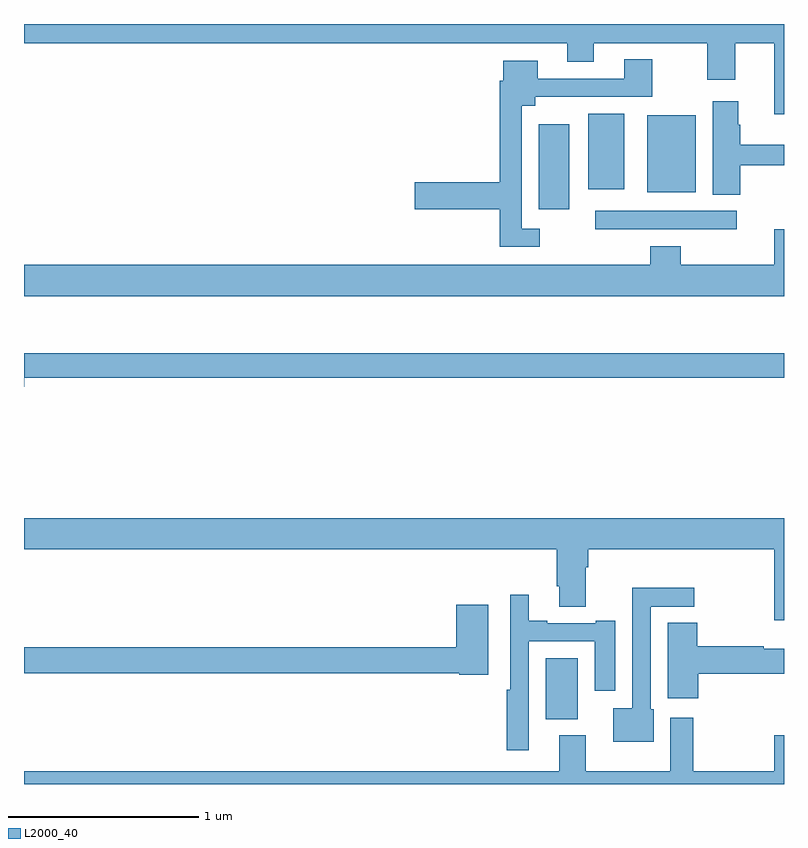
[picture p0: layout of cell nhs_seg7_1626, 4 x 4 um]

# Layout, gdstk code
import gdstk
lib = gdstk.Library(unit=1e-6, precision=1e-09)
def R(c, l, rs):  # rectangles x0, y0, x1, y1
    for r in rs: c.add(gdstk.rectangle(r[:2], r[2:], *l))
def P(c, l, *ps):  # polygons
    for p in ps: c.add(gdstk.Polygon(p, *l))
L2000_40 = (2000, 40)

nhs_seg7_1626 = lib.new_cell('nhs_seg7_1626')
R(nhs_seg7_1626, L2000_40, [(223.745,1046.342,223.915,1046.662), (224.007,1048.92,224.752,1049.016), (223.709,1049.025,223.87,1049.473), (224.279,1049.114,224.536,1049.521), (223.97,1049.129,224.158,1049.527)])
P(nhs_seg7_1626, L2000_40, [(225,1050),(221,1050),(221,1049.9),(223.859,1049.9),(223.859,1049.801),(223.999,1049.801),(223.999,1049.9),(224.596,1049.9),(224.596,1049.706),(224.743,1049.706),(224.743,1049.9),(224.948,1049.9),(224.948,1049.526),(225,1049.526)],
  [(223.714,1048.923),(223.62,1048.923),(223.62,1049.57),(223.69,1049.57),(223.69,1049.616),(224.307,1049.616),(224.307,1049.815),(224.159,1049.815),(224.159,1049.712),(223.705,1049.712),(223.705,1049.806),(223.523,1049.806),(223.523,1049.702),(223.504,1049.702),(223.504,1049.168),(223.056,1049.168),(223.056,1049.026),(223.504,1049.026),(223.504,1048.827),(223.714,1048.827)],
  [(224.771,1049.256),(225,1049.256),(225,1049.365),(224.771,1049.365),(224.771,1049.471),(224.758,1049.471),(224.758,1049.593),(224.624,1049.593),(224.624,1049.101),(224.771,1049.101)],
  [(225,1048.921),(224.948,1048.921),(224.948,1048.732),(224.457,1048.732),(224.457,1048.831),(224.297,1048.831),(224.297,1048.732),(221,1048.732),(221,1048.568),(225,1048.568)],
  [(221.002,1048.138),(225,1048.138),(225,1048.267),(221,1048.267),(221,1048.091),(221.002,1048.091)],
  [(225,1047.4),(221,1047.4),(221,1047.236),(223.805,1047.236),(223.805,1047.04),(223.817,1047.04),(223.817,1046.932),(223.957,1046.932),(223.957,1047.14),(223.97,1047.14),(223.97,1047.236),(224.948,1047.236),(224.948,1046.862),(225,1046.862)],
  [(224.314,1046.394),(224.298,1046.394),(224.298,1046.934),(224.527,1046.934),(224.527,1047.032),(224.202,1047.032),(224.202,1046.398),(224.102,1046.398),(224.102,1046.222),(224.314,1046.222)],
  [(223.656,1046.751),(224.003,1046.751),(224.003,1046.49),(224.113,1046.49),(224.113,1046.86),(224.009,1046.86),(224.009,1046.847),(223.753,1046.847),(223.753,1046.86),(223.657,1046.86),(223.657,1046.995),(223.56,1046.995),(223.56,1046.495),(223.54,1046.495),(223.54,1046.178),(223.656,1046.178)],
  [(223.444,1046.944),(223.274,1046.944),(223.274,1046.72),(221,1046.72),(221,1046.584),(223.29,1046.584),(223.29,1046.576),(223.444,1046.576)],
  [(224.549,1046.579),(225,1046.579),(225,1046.713),(224.894,1046.713),(224.894,1046.726),(224.544,1046.726),(224.544,1046.849),(224.387,1046.849),(224.387,1046.451),(224.549,1046.451)],
  [(225,1046.257),(224.948,1046.257),(224.948,1046.068),(224.523,1046.068),(224.523,1046.35),(224.402,1046.35),(224.402,1046.068),(223.957,1046.068),(223.957,1046.257),(223.817,1046.257),(223.817,1046.068),(221,1046.068),(221,1046),(225,1046)])

lib.write_gds('nhs_seg7_1626.gds')
